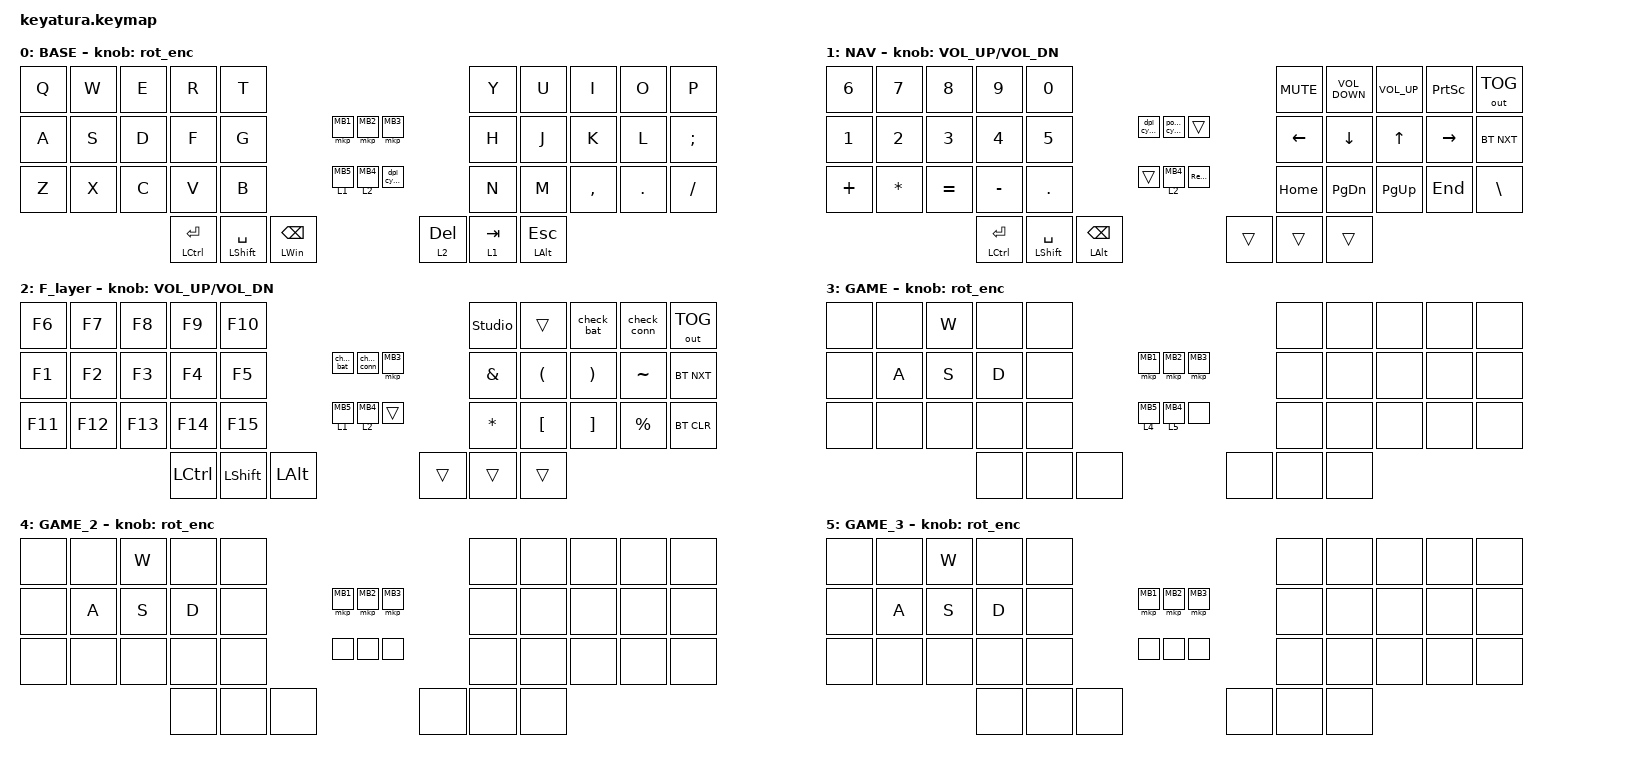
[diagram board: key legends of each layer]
#include <behaviors.dtsi>
#include <dt-bindings/zmk/bt.h>
#include <dt-bindings/zmk/keys.h>
#include <dt-bindings/zmk/outputs.h>
#include <dt-bindings/zmk/pointing.h>

#include <behaviors/vfx_rgbled_indicator.dtsi>

#define U_TAPPING_TERM 220
#define U_QUICK_TAP 200

#ifdef ZMK_POINTING_DEFAULT_SCRL_VAL
    #undef ZMK_POINTING_DEFAULT_SCRL_VAL
    #define ZMK_POINTING_DEFAULT_SCRL_VAL 50
#endif

/ {
    combos {
        compatible = "zmk,combos";

        Reset {
            bindings = <&sys_reset>;
            key-positions = <16 17>;
        };

        ParaLeft {
            bindings = <&kp LEFT_PARENTHESIS>;
            key-positions = <6 7>;
        };

        ParaRight {
            bindings = <&kp RIGHT_PARENTHESIS>;
            key-positions = <2 3>;
        };

        BrakLeft {
            bindings = <&kp LEFT_BRACKET>;
            key-positions = <26 27>;
        };

        BrakRight {
            bindings = <&kp RIGHT_BRACKET>;
            key-positions = <22 23>;
        };

        Delete {
            bindings = <&kp DELETE>;
            key-positions = <8 9>;
        };

        CapsWord {
            bindings = <&caps_word>;
            key-positions = <11 12>;
        };

        quote {
            bindings = <&kp SINGLE_QUOTE>;
            key-positions = <17 18>;
        };

        alt {
            bindings = <&kp LEFT_ALT>;
            key-positions = <12 13>;
        };

        lang {
            bindings = <&kp LS(LALT)>;
            key-positions = <7 8>;
        };

    };

    behaviors {
        u_mt: u_mt {
            compatible = "zmk,behavior-hold-tap";
            #binding-cells = <2>;
            tapping-term-ms = <U_TAPPING_TERM>;
            quick-tap-ms = <U_QUICK_TAP>;
            flavor = "tap-preferred";
            bindings = <&kp>, <&kp>;
        };

        u_lt: u_lt {
            compatible = "zmk,behavior-hold-tap";
            #binding-cells = <2>;
            tapping-term-ms = <U_TAPPING_TERM>;
            quick-tap-ms = <U_QUICK_TAP>;
            flavor = "tap-preferred";
            bindings = <&mo>, <&kp>;
        };

        u_lt_mouse: u_lt_mouse {
            compatible = "zmk,behavior-hold-tap";
            #binding-cells = <2>;
            tapping-term-ms = <U_TAPPING_TERM>;
            quick-tap-ms = <U_QUICK_TAP>;
            flavor = "tap-preferred";
            bindings = <&mo>, <&mkp>;
        };

        ec_s: mouse_scroll {
            compatible = "zmk,behavior-input-two-axis";
            #binding-cells = <1>;
            trigger-period-ms = <3>;
            x-input-code = <INPUT_REL_HWHEEL>;
            y-input-code = <INPUT_REL_WHEEL>;
            time-to-max-speed-ms = <0>;
            acceleration-exponent = <0>;
        };

        rot_enc: sensor_rotate {
            compatible = "zmk,behavior-sensor-rotate";
            #sensor-binding-cells = <0>;
            bindings = <&ec_s MOVE_Y(-150)>, <&ec_s MOVE_Y(150)>;
            tap-ms = <15>;
        };
    };

    keymap {
        compatible = "zmk,keymap";

        BASE {
            bindings = <
&kp Q  &kp W              &kp E              &kp R                     &kp T         &kp Y      &kp U                  &kp I      &kp O    &kp P
&kp A  &kp S              &kp D              &kp F                     &kp G         &kp H      &kp J                  &kp K      &kp L    &kp SEMI
&kp Z  &kp X              &kp C              &kp V                     &kp B         &kp N      &kp M                  &kp COMMA  &kp DOT  &kp FSLH
              &u_mt LCTRL ENTER  &u_mt LSHFT SPACE  &u_mt LEFT_WIN BACKSPACE         &u_lt 2 DELETE  &u_lt 1 TAB  &u_mt LEFT_ALT ESCAPE
                                                            &mkp MB1 &mkp MB2 &mkp MB3
                                                        &u_lt_mouse 1 MB5  &u_lt_mouse 2 MB4 &dpi_cycle(1)
          >;
        sensor-bindings = <&rot_enc>;
        };

        NAV {
            bindings = <
&kp N6    &kp N7             &kp N8             &kp N9                &kp N0   &kp C_MUTE        &kp C_VOLUME_DOWN  &kp C_VOLUME_UP  &kp PRINTSCREEN  &out OUT_TOG
&kp N1    &kp N2             &kp N3             &kp N4                &kp N5   &kp LEFT          &kp DOWN           &kp UP           &kp RIGHT        &bt BT_NXT
&kp PLUS  &kp ASTERISK       &kp EQUAL          &kp MINUS             &kp DOT  &kp HOME          &kp PAGE_DOWN      &kp PG_UP        &kp END          &kp BACKSLASH
          &u_mt LCTRL ENTER  &u_mt LSHFT SPACE  &u_mt LALT BACKSPACE           &trans   &trans            &trans
                                                      &dpi_cycle(1)  &power_cycle(1) &trans
                                                               &trans   &u_lt_mouse 2 MB4 &sys_reset
          >;
        sensor-bindings = <&inc_dec_kp C_VOL_UP C_VOL_DN>;
        };

        F_layer {
            bindings = <
&kp F6   &kp F7   &kp F8   &kp F9   &kp F10       &studio_unlock  &trans                &check_bat             &check_conn  &out OUT_TOG
&kp F1   &kp F2   &kp F3   &kp F4   &kp F5        &kp AMPS        &kp LEFT_PARENTHESIS  &kp RIGHT_PARENTHESIS  &kp TILDE    &bt BT_NXT
&kp F11  &kp F12  &kp F13  &kp F14  &kp F15       &kp ASTERISK    &kp LEFT_BRACKET      &kp RIGHT_BRACKET      &kp PERCENT  &bt BT_CLR
         &kp LCTRL  &kp LEFT_SHIFT  &kp LEFT_ALT  &trans          &trans                &trans
                                                            &check_bat  &check_conn  &mkp MB3
                                                        &u_lt_mouse 1 MB5  &u_lt_mouse 2 MB4 &trans
          >;
        sensor-bindings = <&inc_dec_kp C_VOL_UP C_VOL_DN>;
        };

        GAME {
            bindings = <
&none   &none   &kp W   &none   &none   &none   &none   &none   &none   &none
&none   &kp A   &kp S   &kp D   &none   &none   &none   &none   &none   &none
&none   &none   &none   &none   &none   &none   &none   &none   &none   &none
                &none   &none   &none   &none   &none   &none
                &mkp MB1  &mkp MB2  &mkp MB3
                &u_lt_mouse 4 MB5  &u_lt_mouse 5 MB4 &none
          >;
        sensor-bindings = <&rot_enc>;
        };

        GAME_2 {
            bindings = <
&none   &none   &kp W   &none   &none   &none   &none   &none   &none   &none
&none   &kp A   &kp S   &kp D   &none   &none   &none   &none   &none   &none
&none   &none   &none   &none   &none   &none   &none   &none   &none   &none
                &none   &none   &none   &none   &none   &none
                &mkp MB1  &mkp MB2  &mkp MB3
                &none   &none   &none
          >;
        sensor-bindings = <&rot_enc>;
        };

        GAME_3 {
            bindings = <
&none   &none   &kp W   &none   &none   &none   &none   &none   &none   &none
&none   &kp A   &kp S   &kp D   &none   &none   &none   &none   &none   &none
&none   &none   &none   &none   &none   &none   &none   &none   &none   &none
                &none   &none   &none   &none   &none   &none
                &mkp MB1  &mkp MB2  &mkp MB3
                &none   &none   &none
          >;
        sensor-bindings = <&rot_enc>;
        };
    };

    conditional_layers { compatible = "zmk,conditional-layers"; };
};
